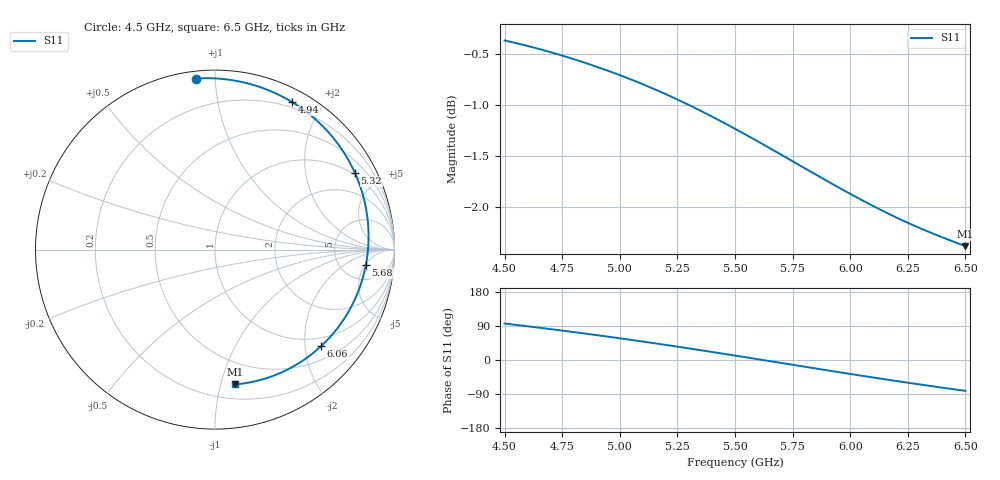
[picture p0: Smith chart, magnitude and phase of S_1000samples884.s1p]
! TOUCHSTONE file generated by CST MICROWAVE STUDIO
! Date and time: Sat Oct 29 16:51:57 2022
! Project name: L.cst
! Parameters = {Di=1.27; Epsilon_r=1.56; InnerDiameter=1.27; Length=2; Lf=10; Lg=60; OuterConductorThickness=0.2921; OuterDiameter=3.6; Wf=3; Wp=41.2; de=1.5; df=6.8; g=0.8; gx=1.89314; gy=4.80697; h=2.34; hf=1.524; px=9.28798; py=10.0874; w=9.7; wx=7.39484; wy=5.2804}
! Header version: 2018
! Port assignment regex: !\s*Touchstone port\s*([0-9]+)\s*=\s*(CST MWS port|CST DS port)\s*([0-9]+|Zmin|Zmax)\s*\(\"(.*)\"\)(\s*mode\s*([0-9]+))?.*
! Touchstone port assignment:
! Touchstone port 1 = CST MWS port 1 ("")
# GHz S DB R 50
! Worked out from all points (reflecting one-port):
!   101 points, 4.5 GHz to 6.5 GHz, reference 50 ohm
!   lowest |S11| = -2.4 dB at 6.5 GHz (marker M1), VSWR 7.31, Z = 15.7 - j55.6 ohm
!   phase of S11 starts at 96 deg and turns -178 deg over the sweep
!   S11 on the Smith chart (normalised r, x): 4.5 GHz: 0.04, +0.90; 4.94 GHz: 0.14, +1.65; 5.32 GHz: 0.91, +3.70; 5.68 GHz: 9, -5; 6.06 GHz: 0.79, -2.35; 6.5 GHz: 0.31, -1.11
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4.5  -0.36 96.2
4.58  -0.41 90.4
4.64  -0.44 86.0
4.7  -0.48 81.4
4.76  -0.52 76.8
4.86  -0.59 68.8
4.94  -0.66 62.3
5  -0.71 57.2
5.06  -0.76 52.1
5.12  -0.82 46.9
5.2  -0.89 39.7
5.26  -0.96 34.3
5.32  -1.02 28.7
5.42  -1.14 19.3
5.5  -1.23 11.7
5.58  -1.33 4.0
5.68  -1.46 -5.8
5.76  -1.57 -13.6
5.82  -1.65 -19.4
5.88  -1.72 -25.2
6  -1.88 -36.8
6.06  -1.95 -42.4
6.16  -2.06 -51.7
6.26  -2.17 -60.8
6.32  -2.23 -66.1
6.38  -2.29 -71.3
6.44  -2.34 -76.4
6.5  -2.39 -81.4
